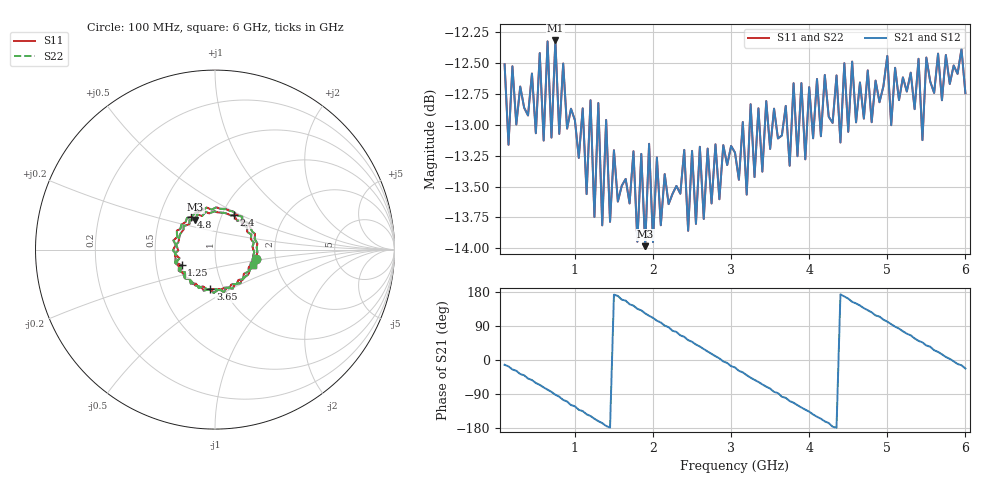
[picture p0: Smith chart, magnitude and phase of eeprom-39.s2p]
! Created with skrf 2.0.0 (http://scikit-rf.org).
# Hz S RI R 50.0
!freq ReS11 ImS11 ReS21 ImS21 ReS12 ImS12 ReS22 ImS22
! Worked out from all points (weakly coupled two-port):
!   119 points, 100 MHz to 6 GHz, reference 50 ohm
!   highest |S21| = -12.32 dB at 750 MHz (marker M1); lowest = -14.0 dB at 1.9 GHz (marker M2)
!   lowest |S11| = -14.0 dB at 1.9 GHz (marker M3), VSWR 1.50, Z = 38.2 + j13.3 ohm
!   |S11| at or under -10 dB: start of sweep to end of sweep
!   |S22| runs from -14.0 to -12.3 dB; largest |S21 - S12| = 0
!   S11 on the Smith chart (normalised r, x): 100 MHz: 1.59, -0.18; 1.25 GHz: 0.68, -0.12; 2.4 GHz: 1.14, +0.46; 3.65 GHz: 0.86, -0.40; 4.8 GHz: 0.72, +0.28; 6 GHz: 1.51, -0.28
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1e8  0.2311 -0.0521  0.2311 -0.0521  0.2311 -0.0521  0.2311 -0.0521
4.5e8  0.1417 -0.1872  0.1417 -0.1872  0.1417 -0.1872  0.1417 -0.1872
7.5e8  -0.00724 -0.2421  -0.00724 -0.2421  -0.00724 -0.2421  -0.00724 -0.2421
1.1e9  -0.1601 -0.1614  -0.1601 -0.1614  -0.1601 -0.1614  -0.1601 -0.1614
1.25e9  -0.1861 -0.087  -0.1861 -0.087  -0.1861 -0.087  -0.1861 -0.087
1.3e9  -0.2165 -0.073  -0.2165 -0.073  -0.2165 -0.073  -0.2165 -0.073
1.35e9  -0.1982 -0.0476  -0.1982 -0.0476  -0.1982 -0.0476  -0.1982 -0.0476
1.5e9  -0.2167 0.0289  -0.2167 0.0289  -0.2167 0.0289  -0.2167 0.0289
1.9e9  -0.1089 0.1676  -0.1089 0.1676  -0.1089 0.1676  -0.1089 0.1676
1.95e9  -0.0987 0.1965  -0.0987 0.1965  -0.0987 0.1965  -0.0987 0.1965
2.1e9  -0.0317 0.2014  -0.0317 0.2014  -0.0317 0.2014  -0.0317 0.2014
2.4e9  0.1054 0.1916  0.1054 0.1916  0.1054 0.1916  0.1054 0.1916
2.7e9  0.2024 0.0834  0.2024 0.0834  0.2024 0.0834  0.2024 0.0834
3.05e9  0.2053 -0.0737  0.2053 -0.0737  0.2053 -0.0737  0.2053 -0.0737
3.35e9  0.1209 -0.1925  0.1209 -0.1925  0.1209 -0.1925  0.1209 -0.1925
3.65e9  -0.0268 -0.22  -0.0268 -0.22  -0.0268 -0.22  -0.0268 -0.22
4.05e9  -0.1782 -0.1308  -0.1782 -0.1308  -0.1782 -0.1308  -0.1782 -0.1308
4.45e9  -0.2315 0.051  -0.2315 0.051  -0.2315 0.051  -0.2315 0.051
4.8e9  -0.1313 0.182  -0.1313 0.182  -0.1313 0.182  -0.1313 0.182
5.05e9  -0.0176 0.2231  -0.0176 0.2231  -0.0176 0.2231  -0.0176 0.2231
5.5e9  0.187 0.1478  0.187 0.1478  0.187 0.1478  0.187 0.1478
6e9  0.213 -0.0883  0.213 -0.0883  0.213 -0.0883  0.213 -0.0883
